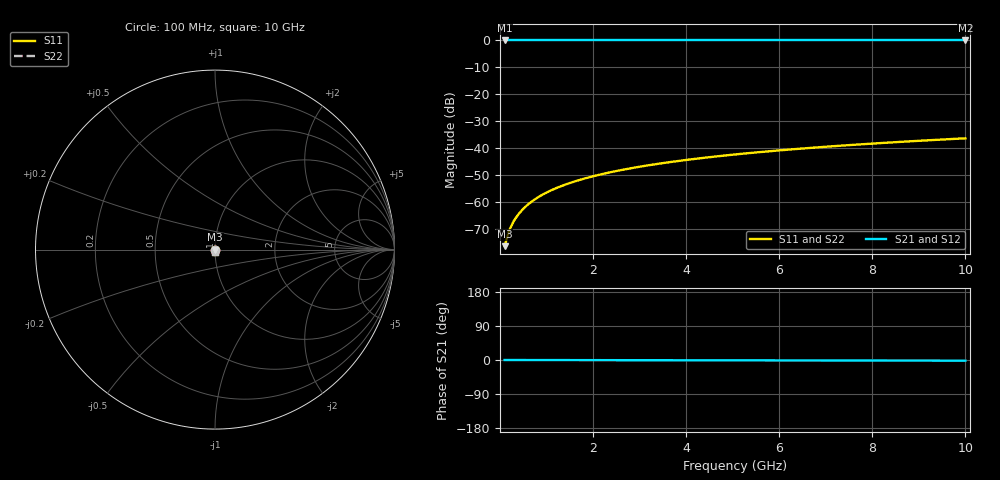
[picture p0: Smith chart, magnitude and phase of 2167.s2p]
# Hz S RI R 50.00
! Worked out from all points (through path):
!   100 points, 100 MHz to 10 GHz, reference 50 ohm
!   highest |S21| = 0.00 dB at 100 MHz (marker M1); lowest = 0.0 dB at 10 GHz (marker M2)
!   lowest |S11| = -76.2 dB at 100 MHz (marker M3), VSWR 1.00, Z = 50 - j0.0152 ohm
!   |S11| at or under -10 dB: start of sweep to end of sweep
!   |S22| runs from -76.2 to -36.2 dB; largest |S21 - S12| = 0
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1e8  2.87e-05 -0.000152  1 -0.000302  1 -0.000302  2.87e-05 -0.000152
2e8  2.85e-05 -0.000305  1 -0.000605  1 -0.000605  2.85e-05 -0.000305
3e8  2.82e-05 -0.000457  1 -0.000907  1 -0.000907  2.82e-05 -0.000457
4e8  2.78e-05 -0.00061  1 -0.00121  1 -0.00121  2.78e-05 -0.00061
5e8  2.73e-05 -0.000762  1 -0.00151  1 -0.00151  2.73e-05 -0.000762
6e8  2.66e-05 -0.000915  1 -0.00182  1 -0.00182  2.66e-05 -0.000915
7e8  2.59e-05 -0.00107  1 -0.00212  1 -0.00212  2.59e-05 -0.00107
8e8  2.51e-05 -0.00122  1 -0.00242  1 -0.00242  2.51e-05 -0.00122
9e8  2.42e-05 -0.00137  1 -0.00272  1 -0.00272  2.42e-05 -0.00137
1.1e9  2.2e-05 -0.00168  1 -0.00333  1 -0.00333  2.2e-05 -0.00168
1.4e9  1.81e-05 -0.00214  1 -0.00424  1 -0.00424  1.81e-05 -0.00214
1.8e9  1.15e-05 -0.00275  0.9999 -0.00545  0.9999 -0.00545  1.15e-05 -0.00275
2.1e9  5.57e-06 -0.00321  0.9999 -0.00636  0.9999 -0.00636  5.57e-06 -0.00321
2.5e9  -3.64e-06 -0.00382  0.9999 -0.00757  0.9999 -0.00757  -3.64e-06 -0.00382
2.9e9  -1.44e-05 -0.00443  0.9999 -0.00879  0.9999 -0.00879  -1.44e-05 -0.00443
3.4e9  -2.99e-05 -0.0052  0.9999 -0.0103  0.9999 -0.0103  -2.99e-05 -0.0052
4.2e9  -5.96e-05 -0.00643  0.9999 -0.0127  0.9999 -0.0127  -5.96e-05 -0.00643
5.1e9  -0.0001 -0.00781  0.9998 -0.0155  0.9998 -0.0155  -0.0001 -0.00781
5.9e9  -0.000143 -0.00905  0.9998 -0.0179  0.9998 -0.0179  -0.000143 -0.00905
6.7e9  -0.000192 -0.0103  0.9997 -0.0204  0.9997 -0.0204  -0.000192 -0.0103
8.4e9  -0.000316 -0.0129  0.9995 -0.0256  0.9995 -0.0256  -0.000316 -0.0129
1e10  -0.000459 -0.0154  0.9994 -0.0305  0.9994 -0.0305  -0.000459 -0.0154
